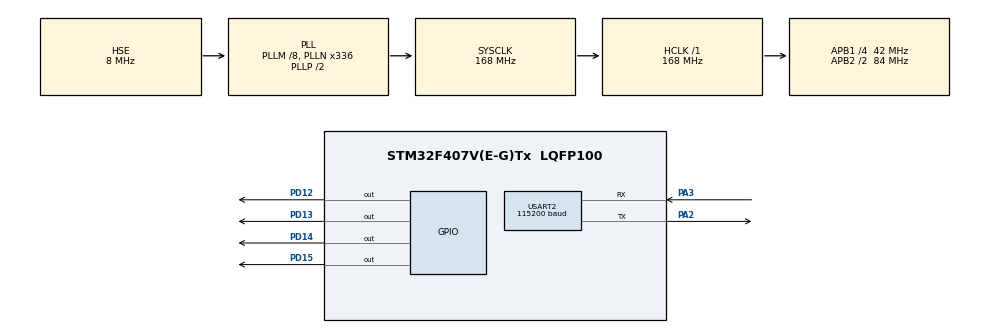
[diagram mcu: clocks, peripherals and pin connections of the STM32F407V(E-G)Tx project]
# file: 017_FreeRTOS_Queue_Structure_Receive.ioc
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FREERTOS.Tasks01=defaultTask,24,128,StartDefaultTask,Default,NULL,Dynamic,NULL,NULL
Mcu.Family=STM32F4
Mcu.Name=STM32F407V(E-G)Tx
Mcu.Package=LQFP100
NVIC.PriorityGroup=NVIC_PRIORITYGROUP_4
NVIC.TIM8_TRG_COM_TIM14_IRQn=true\:15\:0\:false\:false\:true\:false\:false\:true\:true
NVIC.TimeBase=TIM8_TRG_COM_TIM14_IRQn
NVIC.TimeBaseIP=TIM14
NVIC.USART2_IRQn=true\:5\:0\:false\:false\:true\:true\:true\:true\:true
PA2.Mode=Asynchronous
PA2.Signal=USART2_TX
PA3.Mode=Asynchronous
PA3.Signal=USART2_RX
PD12.Signal=GPIO_Output
PD13.Signal=GPIO_Output
PD14.Signal=GPIO_Output
PD15.Signal=GPIO_Output
PH0-OSC_IN.Mode=HSE-External-Oscillator
PH0-OSC_IN.Signal=RCC_OSC_IN
PH1-OSC_OUT.Mode=HSE-External-Oscillator
PH1-OSC_OUT.Signal=RCC_OSC_OUT
ProjectManager.HeapSize=0x200
ProjectManager.StackSize=0x400
ProjectManager.TargetToolchain=STM32CubeIDE
RCC.48MHZClocksFreq_Value=48000000
RCC.AHBFreq_Value=168000000
RCC.APB1CLKDivider=RCC_HCLK_DIV4
RCC.APB1Freq_Value=42000000
RCC.APB1TimFreq_Value=84000000
RCC.APB2CLKDivider=RCC_HCLK_DIV2
RCC.APB2Freq_Value=84000000
RCC.APB2TimFreq_Value=168000000
RCC.CortexFreq_Value=168000000
RCC.HCLKFreq_Value=168000000
RCC.HSE_VALUE=8000000
RCC.HSI_VALUE=16000000
RCC.LSE_VALUE=32768
RCC.PLLM=8
RCC.PLLN=336
RCC.PLLQ=7
RCC.PLLSourceVirtual=RCC_PLLSOURCE_HSE
RCC.SYSCLKFreq_VALUE=168000000
RCC.SYSCLKSource=RCC_SYSCLKSOURCE_PLLCLK
RCC.VCOOutputFreq_Value=336000000
USART2.BaudRate=115200
USART2.VirtualMode=VM_ASYNC
VP_FREERTOS_VS_CMSIS_V2.Mode=CMSIS_V2
VP_SYS_VS_tim14.Mode=TIM14
board=STM32F407G-DISC1

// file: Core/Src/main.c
/* USER CODE BEGIN Header */
/**
  ******************************************************************************
  * @file           : main.c
  * @brief          : Main program body
  ******************************************************************************
  * @attention
  *
  * Copyright (c) 2023 STMicroelectronics.
  * All rights reserved.
  *
  * This software is licensed under terms that can be found in the LICENSE file
  * in the root directory of this software component.
  * If no LICENSE file comes with this software, it is provided AS-IS.
  *
  ******************************************************************************
  */
/* USER CODE END Header */
#include "main.h"

/* USER CODE BEGIN Includes */
#include "FreeRTOS.h"
#include "task.h"
#include "queue.h"
#include <string.h>
#include <stdio.h>
/* USER CODE END Includes */

UART_HandleTypeDef huart2;

/* Definitions for defaultTask */

/* USER CODE BEGIN PV */
/* Define an enumerated type used to identify the source of the data. */
QueueHandle_t xQueue;
typedef enum
{
	eSender1,
	eSender2
}DataSource_t;

/* Define the structure type that will be passed on the queue. */
typedef struct
{
	uint8_t ucValue;
	DataSource_t eDataSource;
}Data_t;
/* Declare two variables of type Data_t that will be passed on the queue. */
static const Data_t xStructsToSend[2] =
{
		{100, eSender1}, 	/* Used by Sender1. */
		{200, eSender2} 	/* Used by Sender2. */
};
/* USER CODE END PV */

void SystemClock_Config(void);
static void MX_GPIO_Init(void);
static void MX_USART2_UART_Init(void);

/* USER CODE BEGIN 0 */
static void vSenderTask(void *pvParameters)
{
	BaseType_t xStatus;
	const TickType_t xTicksToWait = pdMS_TO_TICKS(100);
	/* As per most tasks, this task is implemented within an infinite loop. */
	for(;;)
	{
		/* Send to the queue.
		 The second parameter is the address of the structure being sent. The
		 address is passed in as the task parameter so pvParameters is used
		 directly.
		 The third parameter is the Block time - the time the task should be kept
		 in the Blocked state to wait for space to become available on the queue
		 if the queue is already full. A block time is specified because the
		 sending tasks have a higher priority than the receiving task so the queue
		 is expected to become full. The receiving task will remove items from
		 the queue when both sending tasks are in the Blocked state. */
		xStatus = xQueueSendToBack(xQueue,pvParameters, xTicksToWait);
		if(xStatus != pdPASS)
		{
			/* The send operation could not complete, even after waiting for 100ms.
			 This must be an error as the receiving task should make space in the
			 queue as soon as both sending tasks are in the Blocked state. */
			const char *errorMessage = "Could not send to the queue\r\n";
			HAL_UART_Transmit(&huart2, (uint8_t* )errorMessage, strlen(errorMessage), HAL_MAX_DELAY);
		}
	}
}
static void vReceiverTask(void *pvParameters)
{
	/* Declare the structure that will hold the values received from the queue. */
	Data_t xReceivedStructure;
	BaseType_t xStatus;
	/* This task is also defined within an infinite loop. */
	for(;;)
	{
		/* Because it has the lowest priority this task will only run when the
		 sending tasks are in the Blocked state. The sending tasks will only enter
		 the Blocked state when the queue is full so this task always expects the
		 number of items in the queue to be equal to the queue length, which is 3 in
		 this case. */
		if(uxQueueMessagesWaiting(xQueue) != 3)
		{
			const char *fllMsg = "Queue should have been full!\r\n";
			HAL_UART_Transmit(&huart2, (uint8_t *)fllMsg, strlen(fllMsg), HAL_MAX_DELAY);
		}
		/* Receive from the queue.
		 The second parameter is the buffer into which the received data will be
		 placed. In this case the buffer is simply the address of a variable that
		 has the required size to hold the received structure.
		 The last parameter is the block time - the maximum amount of time that the
		 task will remain in the Blocked state to wait for data to be available
		 if the queue is already empty. In this case a block time is not necessary
		 because this task will only run when the queue is full. */
		xStatus = xQueueReceive(xQueue, &xReceivedStructure, 0);
		if(xStatus == pdPASS)
		{
			char buffer[50];
			/* Data was successfully received from the queue, print out the received
			 value and the source of the value. */
			if(xReceivedStructure.eDataSource == eSender1)
				sprintf(buffer, "From Sender 1 = %d\r\n", xReceivedStructure.ucValue);

			else
				sprintf(buffer, "From Sender 2 = %d\r\n", xReceivedStructure.ucValue);
			HAL_UART_Transmit(&huart2, (uint8_t *)buffer, strlen(buffer), HAL_MAX_DELAY);
		}
		else
		{
			/* Nothing was received from the queue. This must be an error as this
			 task should only run when the queue is full. */
			const char *errMsg = "Could not receive from the queue.\r\n";
			HAL_UART_Transmit(&huart2, (uint8_t *)errMsg, strlen(errMsg), HAL_MAX_DELAY);
		}
	}
}
/* USER CODE END 0 */

int main(void)
{

  /* MCU Configuration--------------------------------------------------------*/

  /* Reset of all peripherals, Initializes the Flash interface and the Systick. */
  HAL_Init();

  /* Configure the system clock */
  SystemClock_Config();

  /* Initialize all configured peripherals */
  MX_GPIO_Init();
  MX_USART2_UART_Init();
  /* USER CODE BEGIN 2 */
  /* The queue is created to hold a maximum of 3 structures of type Data_t. */
  xQueue = xQueueCreate(3, sizeof(Data_t));

  if(xQueue != NULL)
  {
	  /* Create two instances of the task that will write to the queue. The
	   parameter is used to pass the structure that the task will write to the
	   queue, so one task will continuously send xStructsToSend[ 0 ] to the queue
	   while the other task will continuously send xStructsToSend[ 1 ]. Both
	   tasks are created at priority 2, which is above the priority of the receiver. */
	  xTaskCreate(vSenderTask, "Sender1", 1000, &(xStructsToSend[0]), 2, NULL);
	  xTaskCreate(vSenderTask, "Sender2", 1000, &(xStructsToSend[1]), 2, NULL);

	  /* Create the task that will read from the queue. The task is created with
	   priority 1, so below the priority of the sender tasks. */
	  xTaskCreate(vReceiverTask, "Receiver", 1000, NULL, 1, NULL);

	  /* Start the scheduler so the created tasks start executing. */
	  vTaskStartScheduler();
  }
  else
  {
	  const char *errMsg = "Queue couldn't create, Scheduler didn't started.\r\n";
	  HAL_UART_Transmit(&huart2, (uint8_t *)errMsg, strlen(errMsg), HAL_MAX_DELAY);
  }
  /* If all is well then main() will never reach here as the scheduler will
   now be running the tasks. If main() does reach here then it is likely that
   there was insufficient heap memory available for the idle task to be created.
   Chapter 2 provides more information on heap memory management. */
  /* USER CODE END 2 */

  /* Init scheduler */

  /* Create the thread(s) */
  /* creation of defaultTask */

  /* Start scheduler */
  /* We should never get here as control is now taken by the scheduler */
  /* Infinite loop */
  while (1)
  {

  }
}

void SystemClock_Config(void)
{
  RCC_OscInitTypeDef RCC_OscInitStruct = {0};
  RCC_ClkInitTypeDef RCC_ClkInitStruct = {0};

  /** Configure the main internal regulator output voltage
  */
  __HAL_RCC_PWR_CLK_ENABLE();
  __HAL_PWR_VOLTAGESCALING_CONFIG(PWR_REGULATOR_VOLTAGE_SCALE1);

  /** Initializes the RCC Oscillators according to the specified parameters
  * in the RCC_OscInitTypeDef structure.
  */
  RCC_OscInitStruct.OscillatorType = RCC_OSCILLATORTYPE_HSE;
  RCC_OscInitStruct.HSEState = RCC_HSE_ON;
  RCC_OscInitStruct.PLL.PLLState = RCC_PLL_ON;
  RCC_OscInitStruct.PLL.PLLSource = RCC_PLLSOURCE_HSE;
  RCC_OscInitStruct.PLL.PLLM = 8;
  RCC_OscInitStruct.PLL.PLLN = 336;
  RCC_OscInitStruct.PLL.PLLP = RCC_PLLP_DIV2;
  RCC_OscInitStruct.PLL.PLLQ = 7;
  if (HAL_RCC_OscConfig(&RCC_OscInitStruct) != HAL_OK)
  {
    Error_Handler();
  }

  /** Initializes the CPU, AHB and APB buses clocks
  */
  RCC_ClkInitStruct.ClockType = RCC_CLOCKTYPE_HCLK|RCC_CLOCKTYPE_SYSCLK
                              |RCC_CLOCKTYPE_PCLK1|RCC_CLOCKTYPE_PCLK2;
  RCC_ClkInitStruct.SYSCLKSource = RCC_SYSCLKSOURCE_PLLCLK;
  RCC_ClkInitStruct.AHBCLKDivider = RCC_SYSCLK_DIV1;
  RCC_ClkInitStruct.APB1CLKDivider = RCC_HCLK_DIV4;
  RCC_ClkInitStruct.APB2CLKDivider = RCC_HCLK_DIV2;

  if (HAL_RCC_ClockConfig(&RCC_ClkInitStruct, FLASH_LATENCY_5) != HAL_OK)
  {
    Error_Handler();
  }
}

static void MX_USART2_UART_Init(void)
{

  huart2.Instance = USART2;
  huart2.Init.BaudRate = 115200;
  huart2.Init.WordLength = UART_WORDLENGTH_8B;
  huart2.Init.StopBits = UART_STOPBITS_1;
  huart2.Init.Parity = UART_PARITY_NONE;
  huart2.Init.Mode = UART_MODE_TX_RX;
  huart2.Init.HwFlowCtl = UART_HWCONTROL_NONE;
  huart2.Init.OverSampling = UART_OVERSAMPLING_16;
  if (HAL_UART_Init(&huart2) != HAL_OK)
  {
    Error_Handler();
  }

}

static void MX_GPIO_Init(void)
{
  GPIO_InitTypeDef GPIO_InitStruct = {0};

  /* GPIO Ports Clock Enable */
  __HAL_RCC_GPIOH_CLK_ENABLE();
  __HAL_RCC_GPIOA_CLK_ENABLE();
  __HAL_RCC_GPIOD_CLK_ENABLE();

  /*Configure GPIO pin Output Level */
  HAL_GPIO_WritePin(GPIOD, GPIO_PIN_12|GPIO_PIN_13|GPIO_PIN_14|GPIO_PIN_15, GPIO_PIN_RESET);

  /*Configure GPIO pins : PD12 PD13 PD14 PD15 */
  GPIO_InitStruct.Pin = GPIO_PIN_12|GPIO_PIN_13|GPIO_PIN_14|GPIO_PIN_15;
  GPIO_InitStruct.Mode = GPIO_MODE_OUTPUT_PP;
  GPIO_InitStruct.Pull = GPIO_NOPULL;
  GPIO_InitStruct.Speed = GPIO_SPEED_FREQ_LOW;
  HAL_GPIO_Init(GPIOD, &GPIO_InitStruct);

}

void HAL_TIM_PeriodElapsedCallback(TIM_HandleTypeDef *htim)
{
  if (htim->Instance == TIM14) {
    HAL_IncTick();
  }
}

void Error_Handler(void)
{
  __disable_irq();
  while (1)
  {
  }
}
